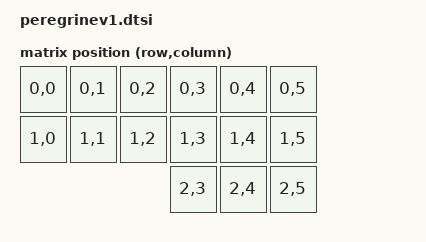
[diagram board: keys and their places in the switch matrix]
#include <dt-bindings/zmk/matrix_transform.h>

&zmk_kscan {
    zmk,matrix-transform = &default_transform;
};

default_transform: keymap_transform_0 {
    compatible = "zmk,matrix-transform";
    columns = <6>;
    rows = <3>;
    map = <
        RC(0,0) RC(0,1) RC(0,2) RC(0,3) RC(0,4) RC(0,5)
        RC(1,0) RC(1,1) RC(1,2) RC(1,3) RC(1,4) RC(1,5)
        NONE    NONE    NONE    RC(2,3) RC(2,4) RC(2,5)
    >;
};
